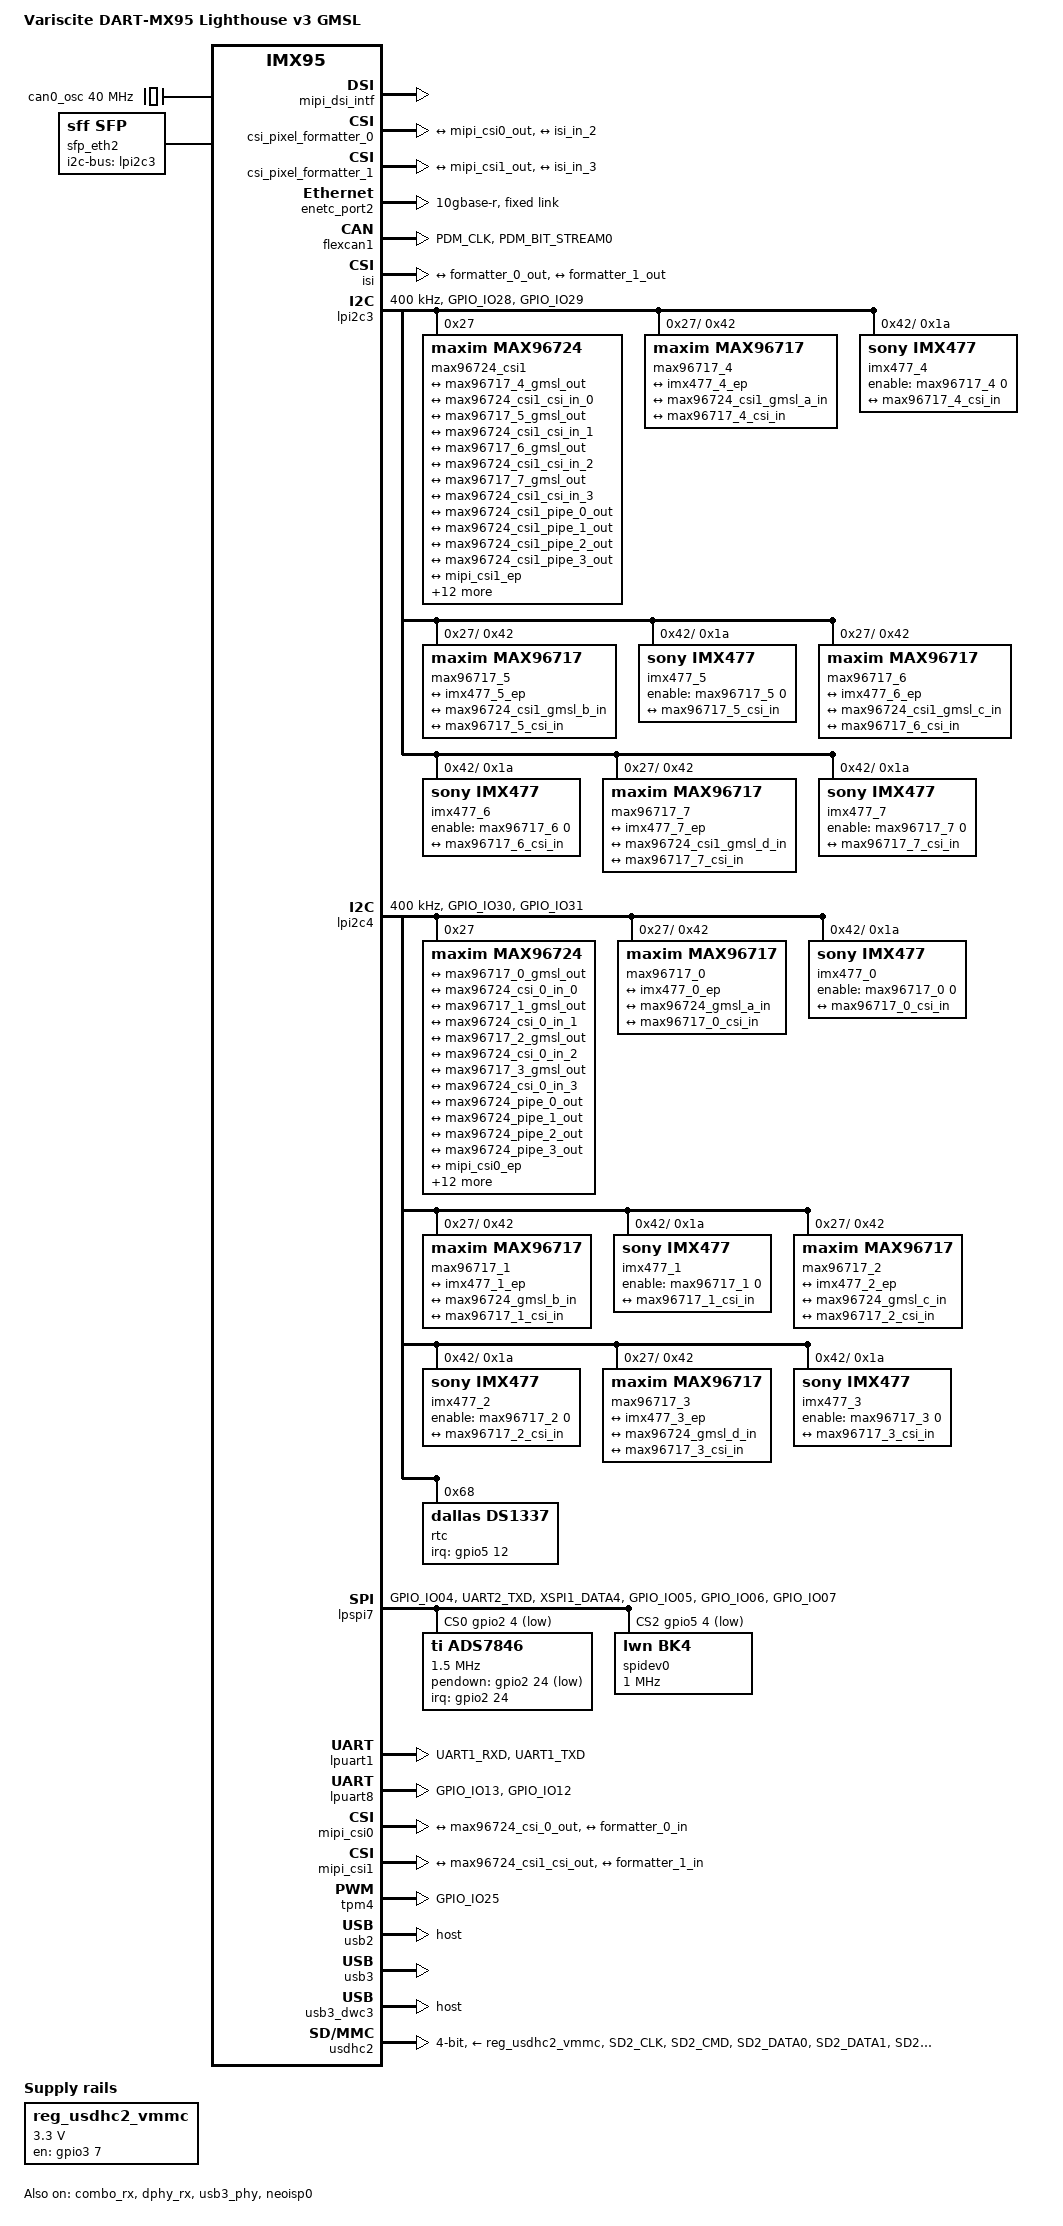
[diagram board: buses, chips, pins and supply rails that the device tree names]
// SPDX-License-Identifier: (GPL-2.0+ OR MIT)
/*
 * Copyright 2023 NXP
 * Copyright 2024-2025 Variscite Ltd.
 */

#include <dt-bindings/clock/nxp,imx95-clock.h>
#include "imx95-var-dart.dtsi"

/ {
	model = "Variscite DART-MX95 Lighthouse v3 GMSL";

	aliases {
		mmc0 = &usdhc1;
		mmc1 = &usdhc2;
		serial0 = &lpuart1;
		ethernet0 = &enetc_port0;
		ethernet1 = &enetc_port1;
		ethernet2 = &enetc_port2;
	};

	backlight: backlight {
		compatible = "pwm-backlight";
		pwms = <&tpm4 3 1000000 0>;
		status = "disabled";

		brightness-levels = < 0  1  2  3  4  5  6  7  8  9
				     10 11 12 13 14 15 16 17 18 19
				     20 21 22 23 24 25 26 27 28 29
				     30 31 32 33 34 35 36 37 38 39
				     40 41 42 43 44 45 46 47 48 49
				     50 51 52 53 54 55 56 57 58 59
				     60 61 62 63 64 65 66 67 68 69
				     70 71 72 73 74 75 76 77 78 79
				     80 81 82 83 84 85 86 87 88 89
				     90 91 92 93 94 95 96 97 98 99
				    100>;
		default-brightness-level = <80>;
	};

	can0_osc: can0_osc {
		compatible = "fixed-clock";
		#clock-cells = <0>;
		clock-frequency = <40000000>;
	};

	chosen {
		stdout-path = &lpuart1;
	};

	/* IMX477 clock provided by MAX96717 serializer in GMSL setup */

	gpio-leds {
		compatible = "gpio-leds";
		pinctrl-names = "default";
		pinctrl-0 = <&pinctrl_gpio_leds>;
		status = "disabled";

		heartbeat {
			label = "Heartbeat";
			gpios = <&gpio3 27 GPIO_ACTIVE_HIGH>;
			linux,default-trigger = "heartbeat";
		};
	};

	gpio-keys {
		compatible = "gpio-keys";
		status = "disabled";


	};

	panel {
		compatible = "sgd,gktw70sdae4se", "panel-lvds";
		backlight = <&backlight>;
		width-mm = <153>;
		height-mm = <87>;
		label = "gktw70sdae4se";
		data-mapping = "jeida-24";
		status = "disabled";

		panel-timing {
			clock-frequency = <74250000>;
			hactive = <800>;
			vactive = <480>;
			hback-porch = <40>;
			hfront-porch = <40>;
			vback-porch = <29>;
			vfront-porch = <13>;
			hsync-len = <48>;
			vsync-len = <3>;
			hsync-active = <0>;
			vsync-active = <0>;
			de-active = <1>;
		};
		port {
			panel_in: endpoint {
				remote-endpoint = <&lvds0_out>;
			};
		};
	};

	reg_usdhc2_vmmc: regulator-usdhc2 {
		compatible = "regulator-fixed";
		pinctrl-names = "default";
		pinctrl-0 = <&pinctrl_reg_usdhc2_vmmc>;
		regulator-name = "VDD_SD2_3V3";
		regulator-min-microvolt = <3300000>;
		regulator-max-microvolt = <3300000>;
		gpio = <&gpio3 7 GPIO_ACTIVE_HIGH>;
		off-on-delay-us = <12000>;
		enable-active-high;
	};

	sfp_eth2: sfp-eth2 {
		compatible = "sff,sfp";
		i2c-bus = <&lpi2c3>;
		// tx-disable-gpios = <&pca9534 4 GPIO_ACTIVE_HIGH>;
		// tx-fault-gpios = <&pca9534 0 GPIO_ACTIVE_HIGH>;
		// los-gpios = <&pca9534 1 GPIO_ACTIVE_HIGH>;
		maximum-power-milliwatt = <2000>;
		status = "okay";
	};

};

&combo_rx {
	status = "okay";
};

/*
 * Combo PHY on iMX95 shares low-level test-control registers with the DSI
 * PHY block. The dphy-rx driver writes DSI_DPHY_TEST_CTRL0 during power-on
 * (phy-fsl-imx9-dphy-rx.c:338) so mipi_dsi_intf must be enabled for combo_rx
 * to initialize correctly on the RX side. Mirrors the NXP reference
 * imx95-19x19-evk-os08a20-combo.dtso pattern.
 */
&mipi_dsi_intf {
	status = "okay";
};

&display_stream_csr {
	status = "disabled";
};

&display_master_csr {
	status = "disabled";
};

&mipi_tx_phy_csr {
	status = "disabled";
};

&csi_pixel_formatter_0 {
	status = "okay";

	ports {
		#address-cells = <1>;
		#size-cells = <0>;

		port@0 {
			reg = <0>;

			formatter_0_in: endpoint {
				remote-endpoint = <&mipi_csi0_out>;
			};
		};

		port@1 {
			reg = <1>;

			formatter_0_out: endpoint {
				remote-endpoint = <&isi_in_2>;
			};
		};
	};
};

&csi_pixel_formatter_1 {
	status = "okay";

	ports {
		#address-cells = <1>;
		#size-cells = <0>;

		port@0 {
			reg = <0>;

			formatter_1_in: endpoint {
				remote-endpoint = <&mipi_csi1_out>;
			};
		};

		port@1 {
			reg = <1>;

			formatter_1_out: endpoint {
				remote-endpoint = <&isi_in_3>;
			};
		};
	};
};

&displaymix_irqsteer {
	status = "disabled";
};

&display_pixel_link {
	status = "disabled";
};

&dphy_rx {
	status = "okay";
};

&dpu {
	status = "disabled";
};

&enetc_port1 {
	pinctrl-names = "default";
	pinctrl-0 = <&pinctrl_enetc1>;
	// phy-handle = <&ethphy1>;
	phy-mode = "rgmii";
	status = "disabled";
};

&enetc_port2 {
	phy-mode = "10gbase-r";
	status = "okay";
	//sfp = <&sfp_eth2>;

	fixed-link {
		speed = <10000>;
		full-duplex;
		// link-gpios = <&pca9534 1 GPIO_ACTIVE_LOW>;
	};
};

&flexcan1 {
	pinctrl-names = "default";
	pinctrl-0 = <&pinctrl_flexcan1>;
	status = "okay";
};

&gpio1 {
	status = "okay";
};

&isi {
	status = "okay";

	ports {
		#address-cells = <1>;
		#size-cells = <0>;

		port@2 {
			reg = <2>;

			isi_in_2: endpoint {
				remote-endpoint = <&formatter_0_out>;
			};
		};

		port@3 {
			reg = <3>;

			isi_in_3: endpoint {
				remote-endpoint = <&formatter_1_out>;
			};
		};
	};
};

&ldb0_phy {
	status = "disabled";
};

&ldb {
	#address-cells = <1>;
	#size-cells = <0>;
	assigned-clocks = <&scmi_clk IMX95_CLK_LDBPLL_VCO>,
			  <&scmi_clk IMX95_CLK_LDBPLL>;
	assigned-clock-rates = <4158000000>, <519750000>;
	status = "disabled";

	channel@0 {
		#address-cells = <1>;
		#size-cells = <0>;
		status = "disabled";
		reg = <0>;

		port@1 {
			reg = <1>;

			lvds0_out: endpoint {
				remote-endpoint = <&panel_in>;
			};
		};
	};
};


/*
 * Lighthouse v3 Deser2: second MAX96724 on lpi2c3 (Linux /dev/i2c-2). MIPI
 * output goes to CSI1 via combo_rx. All 4 data lanes + clock have their P/N
 * swapped on this board revision (lane-polarities = <1 1 1 1 1>).
 *
 * The max96724 driver tolerates chip absence: if the deserializer IC is not
 * populated / unresponsive on i2c, probe registers an offline stub subdev
 * so the ISI async notifier still completes and the rest of the media graph
 * (Deser1 + its cameras) is unaffected. Individual GMSL link-lock is also
 * handled per-link so missing cameras on present deserializers don't take
 * down the other cameras on the same deserializer.
 */
&lpi2c3 {
	#address-cells = <1>;
	#size-cells = <0>;
	clock-frequency = <400000>;
	pinctrl-names = "default";
	pinctrl-0 = <&pinctrl_lpi2c3>;
	status = "okay";

	max96724_csi1: max96724@27 {
		compatible = "maxim,max96724";
		reg = <0x27>;
		maxim,gmsl-speed = <3>;
		status = "okay";

		#address-cells = <1>;
		#size-cells = <0>;

		ports {
			#address-cells = <1>;
			#size-cells = <0>;

			/* GMSL Link A - Camera 4 */
			port@0 {
				reg = <0>;
				#address-cells = <1>;
				#size-cells = <0>;

				max96724_csi1_gmsl_a_in: endpoint@0 {
					reg = <0>;
					remote-endpoint = <&max96717_4_gmsl_out>;
				};
				max96724_csi1_pipe_0_out: endpoint@1 {
					reg = <1>;
					remote-endpoint = <&max96724_csi1_csi_in_0>;
				};
			};

			/* GMSL Link B - Camera 5 */
			port@1 {
				reg = <1>;
				#address-cells = <1>;
				#size-cells = <0>;

				max96724_csi1_gmsl_b_in: endpoint@0 {
					reg = <0>;
					remote-endpoint = <&max96717_5_gmsl_out>;
				};
				max96724_csi1_pipe_1_out: endpoint@1 {
					reg = <1>;
					remote-endpoint = <&max96724_csi1_csi_in_1>;
				};
			};

			/* GMSL Link C - Camera 6 */
			port@2 {
				reg = <2>;
				#address-cells = <1>;
				#size-cells = <0>;

				max96724_csi1_gmsl_c_in: endpoint@0 {
					reg = <0>;
					remote-endpoint = <&max96717_6_gmsl_out>;
				};
				max96724_csi1_pipe_2_out: endpoint@1 {
					reg = <1>;
					remote-endpoint = <&max96724_csi1_csi_in_2>;
				};
			};

			/* GMSL Link D - Camera 7 */
			port@3 {
				reg = <3>;
				#address-cells = <1>;
				#size-cells = <0>;

				max96724_csi1_gmsl_d_in: endpoint@0 {
					reg = <0>;
					remote-endpoint = <&max96717_7_gmsl_out>;
				};
				max96724_csi1_pipe_3_out: endpoint@1 {
					reg = <1>;
					remote-endpoint = <&max96724_csi1_csi_in_3>;
				};
			};

			/* CSI-2 Output Port -> mipi_csi1 */
			port@4 {
				reg = <4>;
				#address-cells = <1>;
				#size-cells = <0>;

				max96724_csi1_csi_in_0: endpoint@0 {
					reg = <0>;
					remote-endpoint = <&max96724_csi1_pipe_0_out>;
				};
				max96724_csi1_csi_in_1: endpoint@1 {
					reg = <1>;
					remote-endpoint = <&max96724_csi1_pipe_1_out>;
				};
				max96724_csi1_csi_in_2: endpoint@2 {
					reg = <2>;
					remote-endpoint = <&max96724_csi1_pipe_2_out>;
				};
				max96724_csi1_csi_in_3: endpoint@3 {
					reg = <3>;
					remote-endpoint = <&max96724_csi1_pipe_3_out>;
				};
				max96724_csi1_csi_out: endpoint@4 {
					reg = <4>;
					data-lanes = <1 2 3 4>;
					/*
					 * Deser2 Lighthouse v3: all 4 data lanes
					 * + clock have P/N swapped on PCB.
					 */
					lane-polarities = <1 1 1 1 1>;
					remote-endpoint = <&mipi_csi1_ep>;
				};
			};
		};

		i2c-mux {
			#address-cells = <1>;
			#size-cells = <0>;

			/* GMSL Link A */
			i2c@0 {
				#address-cells = <1>;
				#size-cells = <0>;
				reg = <0>;

				max96717_4: serializer@42 {
					compatible = "maxim,max96717", "maxim,max96717f";
					reg = <0x42>;
					gpio-controller;
					#gpio-cells = <2>;
					#clock-cells = <0>;

					ports {
						#address-cells = <1>;
						#size-cells = <0>;
						port@0 {
							reg = <0>;
							max96717_4_csi_in: endpoint {
								data-lanes = <1 2>;
								remote-endpoint = <&imx477_4_ep>;
							};
						};
						port@1 {
							reg = <1>;
							max96717_4_gmsl_out: endpoint {
								remote-endpoint = <&max96724_csi1_gmsl_a_in>;
							};
						};
					};

					i2c-gate {
						#address-cells = <1>;
						#size-cells = <0>;
						imx477_4: sensor@1a {
							compatible = "sony,imx477";
							reg = <0x1a>;
							clocks = <&max96717_4>;
							clock-names = "xclk";
							enable-gpios = <&max96717_4 0 GPIO_ACTIVE_HIGH>;
							port {
								imx477_4_ep: endpoint {
									data-lanes = <1 2>;
									link-frequencies = /bits/ 64 <600000000>;
									remote-endpoint = <&max96717_4_csi_in>;
								};
							};
						};
					};
				};
			};

			/* GMSL Link B */
			i2c@1 {
				#address-cells = <1>;
				#size-cells = <0>;
				reg = <1>;

				max96717_5: serializer@42 {
					compatible = "maxim,max96717", "maxim,max96717f";
					reg = <0x42>;
					gpio-controller;
					#gpio-cells = <2>;
					#clock-cells = <0>;

					ports {
						#address-cells = <1>;
						#size-cells = <0>;
						port@0 {
							reg = <0>;
							max96717_5_csi_in: endpoint {
								data-lanes = <1 2>;
								remote-endpoint = <&imx477_5_ep>;
							};
						};
						port@1 {
							reg = <1>;
							max96717_5_gmsl_out: endpoint {
								remote-endpoint = <&max96724_csi1_gmsl_b_in>;
							};
						};
					};

					i2c-gate {
						#address-cells = <1>;
						#size-cells = <0>;
						imx477_5: sensor@1a {
							compatible = "sony,imx477";
							reg = <0x1a>;
							clocks = <&max96717_5>;
							clock-names = "xclk";
							enable-gpios = <&max96717_5 0 GPIO_ACTIVE_HIGH>;
							port {
								imx477_5_ep: endpoint {
									data-lanes = <1 2>;
									link-frequencies = /bits/ 64 <600000000>;
									remote-endpoint = <&max96717_5_csi_in>;
								};
							};
						};
					};
				};
			};

			/* GMSL Link C */
			i2c@2 {
				#address-cells = <1>;
				#size-cells = <0>;
				reg = <2>;

				max96717_6: serializer@42 {
					compatible = "maxim,max96717", "maxim,max96717f";
					reg = <0x42>;
					gpio-controller;
					#gpio-cells = <2>;
					#clock-cells = <0>;

					ports {
						#address-cells = <1>;
						#size-cells = <0>;
						port@0 {
							reg = <0>;
							max96717_6_csi_in: endpoint {
								data-lanes = <1 2>;
								remote-endpoint = <&imx477_6_ep>;
							};
						};
						port@1 {
							reg = <1>;
							max96717_6_gmsl_out: endpoint {
								remote-endpoint = <&max96724_csi1_gmsl_c_in>;
							};
						};
					};

					i2c-gate {
						#address-cells = <1>;
						#size-cells = <0>;
						imx477_6: sensor@1a {
							compatible = "sony,imx477";
							reg = <0x1a>;
							clocks = <&max96717_6>;
							clock-names = "xclk";
							enable-gpios = <&max96717_6 0 GPIO_ACTIVE_HIGH>;
							port {
								imx477_6_ep: endpoint {
									data-lanes = <1 2>;
									link-frequencies = /bits/ 64 <600000000>;
									remote-endpoint = <&max96717_6_csi_in>;
								};
							};
						};
					};
				};
			};

			/* GMSL Link D */
			i2c@3 {
				#address-cells = <1>;
				#size-cells = <0>;
				reg = <3>;

				max96717_7: serializer@42 {
					compatible = "maxim,max96717", "maxim,max96717f";
					reg = <0x42>;
					gpio-controller;
					#gpio-cells = <2>;
					#clock-cells = <0>;

					ports {
						#address-cells = <1>;
						#size-cells = <0>;
						port@0 {
							reg = <0>;
							max96717_7_csi_in: endpoint {
								data-lanes = <1 2>;
								remote-endpoint = <&imx477_7_ep>;
							};
						};
						port@1 {
							reg = <1>;
							max96717_7_gmsl_out: endpoint {
								remote-endpoint = <&max96724_csi1_gmsl_d_in>;
							};
						};
					};

					i2c-gate {
						#address-cells = <1>;
						#size-cells = <0>;
						imx477_7: sensor@1a {
							compatible = "sony,imx477";
							reg = <0x1a>;
							clocks = <&max96717_7>;
							clock-names = "xclk";
							enable-gpios = <&max96717_7 0 GPIO_ACTIVE_HIGH>;
							port {
								imx477_7_ep: endpoint {
									data-lanes = <1 2>;
									link-frequencies = /bits/ 64 <600000000>;
									remote-endpoint = <&max96717_7_csi_in>;
								};
							};
						};
					};
				};
			};
		};
	};
};

&lpi2c4 {
	#address-cells = <1>;
	#size-cells = <0>;
	clock-frequency = <400000>;
	pinctrl-names = "default", "sleep";
	pinctrl-0 = <&pinctrl_lpi2c4>;
	pinctrl-1 = <&pinctrl_lpi2c4>;
	status = "okay";

	/* MAX96724 GMSL2 quad deserializer */
	max96724: max96724@27 {
		compatible = "maxim,max96724";
		reg = <0x27>;
		maxim,gmsl-speed = <3>;  /* 3Gbps to match MAX96717 serializers */
		status = "okay";

		#address-cells = <1>;
		#size-cells = <0>;

		ports {
			#address-cells = <1>;
			#size-cells = <0>;

			/* GMSL Link A - Camera 0 */
			port@0 {
				reg = <0>;
				#address-cells = <1>;
				#size-cells = <0>;

				max96724_gmsl_a_in: endpoint@0 {
					reg = <0>;
					remote-endpoint = <&max96717_0_gmsl_out>;
				};
				max96724_pipe_0_out: endpoint@1 {
					reg = <1>;
					remote-endpoint = <&max96724_csi_0_in_0>;
				};
			};

			/* GMSL Link B - Camera 1 */
			port@1 {
				reg = <1>;
				#address-cells = <1>;
				#size-cells = <0>;

				max96724_gmsl_b_in: endpoint@0 {
					reg = <0>;
					remote-endpoint = <&max96717_1_gmsl_out>;
				};
				max96724_pipe_1_out: endpoint@1 {
					reg = <1>;
					remote-endpoint = <&max96724_csi_0_in_1>;
				};
			};

			/* GMSL Link C - Camera 2 */
			port@2 {
				reg = <2>;
				#address-cells = <1>;
				#size-cells = <0>;

				max96724_gmsl_c_in: endpoint@0 {
					reg = <0>;
					remote-endpoint = <&max96717_2_gmsl_out>;
				};
				max96724_pipe_2_out: endpoint@1 {
					reg = <1>;
					remote-endpoint = <&max96724_csi_0_in_2>;
				};
			};

			/* GMSL Link D - Camera 3 */
			port@3 {
				reg = <3>;
				#address-cells = <1>;
				#size-cells = <0>;

				max96724_gmsl_d_in: endpoint@0 {
					reg = <0>;
					remote-endpoint = <&max96717_3_gmsl_out>;
				};
				max96724_pipe_3_out: endpoint@1 {
					reg = <1>;
					remote-endpoint = <&max96724_csi_0_in_3>;
				};
			};

			/* CSI-2 Output Port A -> mipi_csi0 */
			port@4 {
				reg = <4>;
				#address-cells = <1>;
				#size-cells = <0>;

				max96724_csi_0_in_0: endpoint@0 {
					reg = <0>;
					remote-endpoint = <&max96724_pipe_0_out>;
				};
				max96724_csi_0_in_1: endpoint@1 {
					reg = <1>;
					remote-endpoint = <&max96724_pipe_1_out>;
				};
				max96724_csi_0_in_2: endpoint@2 {
					reg = <2>;
					remote-endpoint = <&max96724_pipe_2_out>;
				};
				max96724_csi_0_in_3: endpoint@3 {
					reg = <3>;
					remote-endpoint = <&max96724_pipe_3_out>;
				};
				max96724_csi_0_out: endpoint@4 {
					reg = <4>;
					data-lanes = <1 2 3 4>;
					/*
					 * Deser1 Lighthouse v3: physical lane 2
					 * (logical lane 3) has P/N swapped on PCB.
					 * Driver translates to reg 0x08A5 bit 3 = 0x08.
					 */
					lane-polarities = <0 0 0 1 0>;
					remote-endpoint = <&mipi_csi0_ep>;
				};
			};
		};

		i2c-mux {
			#address-cells = <1>;
			#size-cells = <0>;

			/* GMSL Link A */
			i2c@0 {
				#address-cells = <1>;
				#size-cells = <0>;
				reg = <0>;

				max96717_0: serializer@42 {
					compatible = "maxim,max96717", "maxim,max96717f";
					reg = <0x42>;
					gpio-controller;
					#gpio-cells = <2>;
					#clock-cells = <0>;

					ports {
						#address-cells = <1>;
						#size-cells = <0>;
						port@0 {
							reg = <0>;
							max96717_0_csi_in: endpoint {
								data-lanes = <1 2>;
								remote-endpoint = <&imx477_0_ep>;
							};
						};
						port@1 {
							reg = <1>;
							max96717_0_gmsl_out: endpoint {
								remote-endpoint = <&max96724_gmsl_a_in>;
							};
						};
					};

					i2c-gate {
						#address-cells = <1>;
						#size-cells = <0>;
						imx477_0: sensor@1a {
							compatible = "sony,imx477";
							reg = <0x1a>;
							clocks = <&max96717_0>;
							clock-names = "xclk";
							enable-gpios = <&max96717_0 0 GPIO_ACTIVE_HIGH>;
							port {
								imx477_0_ep: endpoint {
									data-lanes = <1 2>;
									link-frequencies = /bits/ 64 <600000000>;
									remote-endpoint = <&max96717_0_csi_in>;
								};
							};
						};
					};
				};
			};

			/* GMSL Link B */
			i2c@1 {
				#address-cells = <1>;
				#size-cells = <0>;
				reg = <1>;

				max96717_1: serializer@42 {
					compatible = "maxim,max96717", "maxim,max96717f";
					reg = <0x42>;
					gpio-controller;
					#gpio-cells = <2>;
					#clock-cells = <0>;

					ports {
						#address-cells = <1>;
						#size-cells = <0>;
						port@0 {
							reg = <0>;
							max96717_1_csi_in: endpoint {
								data-lanes = <1 2>;
								remote-endpoint = <&imx477_1_ep>;
							};
						};
						port@1 {
							reg = <1>;
							max96717_1_gmsl_out: endpoint {
								remote-endpoint = <&max96724_gmsl_b_in>;
							};
						};
					};

					i2c-gate {
						#address-cells = <1>;
						#size-cells = <0>;
						imx477_1: sensor@1a {
							compatible = "sony,imx477";
							reg = <0x1a>;
							clocks = <&max96717_1>;
							clock-names = "xclk";
							enable-gpios = <&max96717_1 0 GPIO_ACTIVE_HIGH>;
							port {
								imx477_1_ep: endpoint {
									data-lanes = <1 2>;
									link-frequencies = /bits/ 64 <600000000>;
									remote-endpoint = <&max96717_1_csi_in>;
								};
							};
						};
					};
				};
			};

			/* GMSL Link C */
			i2c@2 {
				#address-cells = <1>;
				#size-cells = <0>;
				reg = <2>;

				max96717_2: serializer@42 {
					compatible = "maxim,max96717", "maxim,max96717f";
					reg = <0x42>;
					gpio-controller;
					#gpio-cells = <2>;
					#clock-cells = <0>;

					ports {
						#address-cells = <1>;
						#size-cells = <0>;
						port@0 {
							reg = <0>;
							max96717_2_csi_in: endpoint {
								data-lanes = <1 2>;
								remote-endpoint = <&imx477_2_ep>;
							};
						};
						port@1 {
							reg = <1>;
							max96717_2_gmsl_out: endpoint {
								remote-endpoint = <&max96724_gmsl_c_in>;
							};
						};
					};

					i2c-gate {
						#address-cells = <1>;
						#size-cells = <0>;
						imx477_2: sensor@1a {
							compatible = "sony,imx477";
							reg = <0x1a>;
							clocks = <&max96717_2>;
							clock-names = "xclk";
							enable-gpios = <&max96717_2 0 GPIO_ACTIVE_HIGH>;
							port {
								imx477_2_ep: endpoint {
									data-lanes = <1 2>;
									link-frequencies = /bits/ 64 <600000000>;
									remote-endpoint = <&max96717_2_csi_in>;
								};
							};
						};
					};
				};
			};

			/* GMSL Link D */
			i2c@3 {
				#address-cells = <1>;
				#size-cells = <0>;
				reg = <3>;

				max96717_3: serializer@42 {
					compatible = "maxim,max96717", "maxim,max96717f";
					reg = <0x42>;
					gpio-controller;
					#gpio-cells = <2>;
					#clock-cells = <0>;

					ports {
						#address-cells = <1>;
						#size-cells = <0>;
						port@0 {
							reg = <0>;
							max96717_3_csi_in: endpoint {
								data-lanes = <1 2>;
								remote-endpoint = <&imx477_3_ep>;
							};
						};
						port@1 {
							reg = <1>;
							max96717_3_gmsl_out: endpoint {
								remote-endpoint = <&max96724_gmsl_d_in>;
							};
						};
					};

					i2c-gate {
						#address-cells = <1>;
						#size-cells = <0>;
						imx477_3: sensor@1a {
							compatible = "sony,imx477";
							reg = <0x1a>;
							clocks = <&max96717_3>;
							clock-names = "xclk";
							enable-gpios = <&max96717_3 0 GPIO_ACTIVE_HIGH>;
							port {
								imx477_3_ep: endpoint {
									data-lanes = <1 2>;
									link-frequencies = /bits/ 64 <600000000>;
									remote-endpoint = <&max96717_3_csi_in>;
								};
							};
						};
					};
				};
			};
		};
	};

	/* DS1337 RTC module */
	rtc@68 {
		compatible = "dallas,ds1337";
		reg = <0x68>;
		pinctrl-names = "default";
		pinctrl-0 = <&pinctrl_rtc>;
		interrupt-parent = <&gpio5>;
		interrupts = <12 IRQ_TYPE_EDGE_FALLING>;
		wakeup-source;
		status = "okay";
	};

	/* Capacitive touch controller */
	ft5x06_ts: ft5x06_ts@38 {
		compatible = "edt,edt-ft5206";
		pinctrl-names = "default";
		pinctrl-0 = <&pinctrl_captouch>;
		reg = <0x38>;
		// reset-gpios = <&pca6408_2 4 GPIO_ACTIVE_LOW>;
		interrupt-parent = <&gpio5>;
		interrupts = <13 IRQ_TYPE_EDGE_FALLING>;
		touchscreen-size-x = <800>;
		touchscreen-size-y = <480>;
		touchscreen-inverted-x;
		touchscreen-inverted-y;
		wakeup-source;
		status = "disabled";
	};

	// pca9534: gpio@22 {
	// 	compatible = "nxp,pca9534";
	// 	reg = <0x22>;
	// 	gpio-controller;
	// 	#gpio-cells = <2>;
	// 	interrupt-parent = <&gpio5>;
	// 	interrupts = <17 IRQ_TYPE_LEVEL_LOW>;

	// 	pcie2-sel {
	// 		gpio-hog;
	// 		gpios = <6 GPIO_ACTIVE_HIGH>;
	// 		output-low;
	// 		line-name = "pcie-clk-sw";
	// 	};

	// 	sfp-sel {
	// 		gpio-hog;
	// 		gpios = <5 GPIO_ACTIVE_HIGH>;
	// 		output-high;
	// 		line-name = "sfp-sw";
	// 	};
	// };

};

&lpi2c8 {
	
	wm8904: codec@1a {
		status = "disabled";
	};
	

	/* IMX477 disabled on CSI0 - WM8904 audio codec conflicts at 0x1a
	imx477: imx477@1a {
		compatible = "sony,imx477";
		reg = <0x1a>;
		clocks = <&clk_imx477_fixed>;
		clock-names = "xclk";
		assigned-clock-rates = <24000000>;
		status = "okay";

		port {
			imx477_ep: endpoint {
				remote-endpoint = <&mipi_csi0_ep>;
				data-lanes = <1 2>;
				clock-lanes = <0>;
				link-frequencies = /bits/ 64 <450000000>;
			};
		};
	};
	*/
};

&lpspi7 {
	pinctrl-names = "default";
	pinctrl-0 = <&pinctrl_lpspi7>;
	cs-gpios = <&gpio2 4 GPIO_ACTIVE_LOW>,
		   <&gpio1 7 GPIO_ACTIVE_LOW>,
		   <&gpio5 4 GPIO_ACTIVE_LOW>;
	status = "okay";

	/* Resistive touch controller */
	ads7846@0 {
		compatible = "ti,ads7846";
		reg = <0>;
		pinctrl-names = "default";
		pinctrl-0 = <&pinctrl_restouch>;
		interrupt-parent = <&gpio2>;
		interrupts = <24 IRQ_TYPE_EDGE_FALLING>;
		spi-max-frequency = <1500000>;
		pendown-gpio = <&gpio2 24 GPIO_ACTIVE_LOW>;
		ti,x-min = /bits/ 16 <125>;
		ti,x-max = /bits/ 16 <4008>;
		ti,y-min = /bits/ 16 <282>;
		ti,y-max = /bits/ 16 <3864>;
		ti,x-plate-ohms = /bits/ 16 <180>;
		ti,pressure-max = /bits/ 16 <255>;
		ti,debounce-max = /bits/ 16 <10>;
		ti,debounce-tol = /bits/ 16 <3>;
		ti,debounce-rep = /bits/ 16 <1>;
		ti,settle-delay-usec = /bits/ 16 <150>;
		ti,keep-vref-on;
		wakeup-source;
		status = "okay";
	};

	can0: can@1 {
		compatible = "microchip,mcp251xfd";
		reg = <1>;
		pinctrl-names = "default";
		pinctrl-0 = <&pinctrl_can>;
		interrupts-extended = <&gpio5 15 IRQ_TYPE_LEVEL_LOW>;
		microchip,rx-int-gpios = <&gpio2 22 GPIO_ACTIVE_LOW>;
		clocks = <&can0_osc>;
		spi-max-frequency = <12000000>;
		status = "disable";
	};

	spidev0: spi@2 {
		reg = <2>;
		compatible = "lwn,bk4";
		spi-max-frequency = <1000000>;
	};
};

&lpuart1 {
	/* console */
	pinctrl-names = "default";
	pinctrl-0 = <&pinctrl_uart1>;
	status = "okay";
};

/* Header (J12.4, J12.6) */
&lpuart8 {
	pinctrl-names = "default";
	pinctrl-0 = <&pinctrl_uart8>;
	status = "okay";
};

&mipi_csi0 {
	status = "okay";
	virtual-channel;

	ports {
		#address-cells = <1>;
		#size-cells = <0>;

		port@0 {
			reg = <0>;
			mipi_csi0_ep: endpoint {
				remote-endpoint = <&max96724_csi_0_out>;
				data-lanes = <1 2 3 4>;
				clock-lanes = <0>;
			};
		};

		port@1 {
			reg = <1>;
			mipi_csi0_out: endpoint {
				remote-endpoint = <&formatter_0_in>;
			};
		};
	};
};

&mipi_csi1 {
	status = "okay";
	virtual-channel;

	ports {
		#address-cells = <1>;
		#size-cells = <0>;

		port@0 {
			reg = <0>;
			mipi_csi1_ep: endpoint {
				remote-endpoint = <&max96724_csi1_csi_out>;
				data-lanes = <1 2 3 4>;
				clock-lanes = <0>;
			};
		};

		port@1 {
			reg = <1>;
			mipi_csi1_out: endpoint {
				remote-endpoint = <&formatter_1_in>;
			};
		};
	};
};

&netc_emdio {

	// ethphy1: ethernet-phy@1 {
	// 	compatible = "ethernet-phy-ieee802.3-c22";
	// 	reg = <1>;
	// 	// reset-gpios = <&pca6408_2 0 GPIO_ACTIVE_LOW>;
	// 	reset-assert-us = <10000>;
	// 	reset-deassert-us = <100000>;

	// 	mxl-8611x,led0_cfg = <(
	// 		MXL8611X_LEDX_CFG_LINK_UP_RX_ACT_ON |
	// 		MXL8611X_LEDX_CFG_LINK_UP_TX_ACT_ON |
	// 		MXL8611X_LEDX_CFG_TRAFFIC_ACT_BLINK_IND
	// 	)>;
	// 	mxl-8611x,led1_cfg = <(
	// 		MXL8611X_LEDX_CFG_LINK_UP_10MB_ON |
	// 		MXL8611X_LEDX_CFG_LINK_UP_100MB_ON |
	// 		MXL8611X_LEDX_CFG_LINK_UP_1GB_ON
	// 	)>;
	// };
};

&pcie0 {
	fsl,refclk-pad-mode = <IMX8_PCIE_REFCLK_PAD_INPUT>;
	reset-gpio = <&gpio4 15 GPIO_ACTIVE_LOW>;
	status = "disabled";
};

&pcie1 {status = "disabled";};

&pixel_interleaver {
	#address-cells = <1>;
	#size-cells = <0>;
	status = "disabled";

	channel@0 {
		reg = <0>;
		status = "disabled";
	};
};

&scmi_iomuxc {
	pinctrl-names = "default";
	pinctrl-0 = <&pinctrl_hog>;

	pinctrl_hog: hoggrp {
		fsl,pins = <
			/* GPIO Expanders shared IRQ */
			IMX95_PAD_GPIO_IO37__GPIO5_IO_BIT17				0x31e
		>;
	};

	pinctrl_captouch: captouchgrp {
		fsl,pins = <
			IMX95_PAD_GPIO_IO33__GPIO5_IO_BIT13				0x31e
		>;
	};

	pinctrl_can: cangrp {
		fsl,pins = <
			IMX95_PAD_GPIO_IO35__GPIO5_IO_BIT15				0x31e
			IMX95_PAD_GPIO_IO22__GPIO2_IO_BIT22				0x31e
		>;
	};

	pinctrl_enetc1: enetc1grp {
		fsl,pins = <
			IMX95_PAD_ENET2_TXC__NETCMIX_TOP_ETH1_RGMII_TX_CLK		0x57e
			IMX95_PAD_ENET2_TX_CTL__NETCMIX_TOP_ETH1_RGMII_TX_CTL		0x57e
			IMX95_PAD_ENET2_TD3__NETCMIX_TOP_ETH1_RGMII_TD3			0x57e
			IMX95_PAD_ENET2_TD2__NETCMIX_TOP_ETH1_RGMII_TD2			0x57e
			IMX95_PAD_ENET2_TD1__NETCMIX_TOP_ETH1_RGMII_TD1			0x57e
			IMX95_PAD_ENET2_TD0__NETCMIX_TOP_ETH1_RGMII_TD0			0x57e
			IMX95_PAD_ENET2_RXC__NETCMIX_TOP_ETH1_RGMII_RX_CLK		0x57e
			IMX95_PAD_ENET2_RX_CTL__NETCMIX_TOP_ETH1_RGMII_RX_CTL		0x57e
			IMX95_PAD_ENET2_RD0__NETCMIX_TOP_ETH1_RGMII_RD0			0x57e
			IMX95_PAD_ENET2_RD1__NETCMIX_TOP_ETH1_RGMII_RD1			0x57e
			IMX95_PAD_ENET2_RD2__NETCMIX_TOP_ETH1_RGMII_RD2			0x57e
			IMX95_PAD_ENET2_RD3__NETCMIX_TOP_ETH1_RGMII_RD3			0x37e /* Enable pull-up to strap MXL86110 MDIO address */
		>;
	};

	pinctrl_flexcan1: flexcan1grp {
		fsl,pins = <
			IMX95_PAD_PDM_CLK__AONMIX_TOP_CAN1_TX				0x39e
			IMX95_PAD_PDM_BIT_STREAM0__AONMIX_TOP_CAN1_RX			0x39e
		>;
	};

	pinctrl_gpio_leds: ledgrp {
		fsl,pins = <
			IMX95_PAD_CCM_CLKO2__GPIO3_IO_BIT27				0x31e
		>;
	};

	pinctrl_lpi2c3: lpi2c3grp {
		fsl,pins = <
			IMX95_PAD_GPIO_IO28__LPI2C3_SDA					0x40000b9e
			IMX95_PAD_GPIO_IO29__LPI2C3_SCL					0x40000b9e
		>;
	};

	pinctrl_lpi2c3_gpio: lpi2c3grp-gpio {
		fsl,pins = <
			IMX95_PAD_GPIO_IO28__GPIO2_IO_BIT28				0x31e
			IMX95_PAD_GPIO_IO29__GPIO2_IO_BIT29				0x31e
		>;
	};

	pinctrl_lpi2c4: lpi2c4grp {
		fsl,pins = <
			IMX95_PAD_GPIO_IO30__LPI2C4_SDA					0x40000b9e
			IMX95_PAD_GPIO_IO31__LPI2C4_SCL					0x40000b9e
		>;
	};

	pinctrl_lpspi7: lpspi7grp {
		fsl,pins = <
			IMX95_PAD_GPIO_IO04__GPIO2_IO_BIT4				0x3fe		/* j16.4 ADS7846 */
			IMX95_PAD_UART2_TXD__AONMIX_TOP_GPIO1_IO_BIT7			0x3fe		/* j14.4 MCP2518FDT */
			IMX95_PAD_XSPI1_DATA4__GPIO5_IO_BIT4				0x3fe		/* j25.2 spidev */
			IMX95_PAD_GPIO_IO05__LPSPI7_SIN					0x3fe
			IMX95_PAD_GPIO_IO06__LPSPI7_SOUT				0x3fe
			IMX95_PAD_GPIO_IO07__LPSPI7_SCK					0x3fe
		>;
	};

	pinctrl_ptn5150: ptn5150grp {
		fsl,pins = <
			IMX95_PAD_GPIO_IO34__GPIO5_IO_BIT14				0x31e
		>;
	};

	pinctrl_pwm_backlight: backlightgrp {
		fsl,pins = <
			IMX95_PAD_GPIO_IO25__TPM4_CH3					0x51e
		>;
	};

	pinctrl_reg_usdhc2_vmmc: regusdhc2vmmcgrp {
		fsl,pins = <
			IMX95_PAD_SD2_RESET_B__GPIO3_IO_BIT7				0x31e
		>;
	};

	pinctrl_restouch: restouchgrp {
		fsl,pins = <
			IMX95_PAD_GPIO_IO24__GPIO2_IO_BIT24				0x31e
		>;
	};

	pinctrl_rtc: rtcgrp {
		fsl,pins = <
			IMX95_PAD_GPIO_IO32__GPIO5_IO_BIT12				0x31e
		>;
	};

	pinctrl_uart1: uart1grp {
		fsl,pins = <
			IMX95_PAD_UART1_RXD__AONMIX_TOP_LPUART1_RX			0x31e
			IMX95_PAD_UART1_TXD__AONMIX_TOP_LPUART1_TX			0x31e
		>;
	};

	pinctrl_uart8: uart8grp {
		fsl,pins = <
			IMX95_PAD_GPIO_IO13__LPUART8_RX					0x31e
			IMX95_PAD_GPIO_IO12__LPUART8_TX					0x31e
		>;
	};

	pinctrl_usdhc2_gpio: usdhc2gpiogrp {
		fsl,pins = <
			IMX95_PAD_SD2_CD_B__GPIO3_IO_BIT0				0x31e
		>;
	};

	pinctrl_usdhc2: usdhc2grp {
		fsl,pins = <
			IMX95_PAD_SD2_CLK__USDHC2_CLK					0x158e
			IMX95_PAD_SD2_CMD__USDHC2_CMD					0x138e
			IMX95_PAD_SD2_DATA0__USDHC2_DATA0				0x138e
			IMX95_PAD_SD2_DATA1__USDHC2_DATA1				0x138e
			IMX95_PAD_SD2_DATA2__USDHC2_DATA2				0x138e
			IMX95_PAD_SD2_DATA3__USDHC2_DATA3				0x138e
			IMX95_PAD_SD2_VSELECT__USDHC2_VSELECT				0x51e
		>;
	};

	pinctrl_usdhc2_100mhz: usdhc2-100mhzgrp {
		fsl,pins = <
			IMX95_PAD_SD2_CLK__USDHC2_CLK					0x158e
			IMX95_PAD_SD2_CMD__USDHC2_CMD					0x138e
			IMX95_PAD_SD2_DATA0__USDHC2_DATA0				0x138e
			IMX95_PAD_SD2_DATA1__USDHC2_DATA1				0x138e
			IMX95_PAD_SD2_DATA2__USDHC2_DATA2				0x138e
			IMX95_PAD_SD2_DATA3__USDHC2_DATA3				0x138e
			IMX95_PAD_SD2_VSELECT__USDHC2_VSELECT				0x51e
		>;
	};

	pinctrl_usdhc2_200mhz: usdhc2-200mhzgrp {
		fsl,pins = <
			IMX95_PAD_SD2_CLK__USDHC2_CLK					0x15fe
			IMX95_PAD_SD2_CMD__USDHC2_CMD					0x13fe
			IMX95_PAD_SD2_DATA0__USDHC2_DATA0				0x13fe
			IMX95_PAD_SD2_DATA1__USDHC2_DATA1				0x13fe
			IMX95_PAD_SD2_DATA2__USDHC2_DATA2				0x13fe
			IMX95_PAD_SD2_DATA3__USDHC2_DATA3				0x13fe
			IMX95_PAD_SD2_VSELECT__USDHC2_VSELECT				0x51e
		>;
	};
};

&tpm4 {
	pinctrl-names = "default";
	pinctrl-0 = <&pinctrl_pwm_backlight>;
	status = "okay";
};

&usb2 {
	dr_mode = "host";
	hnp-disable;
	srp-disable;
	adp-disable;
	disable-over-current;
	status = "okay";
};

&usb3 {
	status = "okay";
};

&usb3_dwc3 {
	dr_mode = "host";
	hnp-disable;
	srp-disable;
	adp-disable;
	snps,dis-u1-entry-quirk;
	snps,dis-u2-entry-quirk;
	status = "okay";
};

&usb3_phy {
	fsl,phy-pcs-tx-deemph-3p5db-attenuation-db = <17>;
	fsl,phy-pcs-tx-swing-full-percent = <100>;
	fsl,phy-tx-preemp-amp-tune-microamp = <600>;
	fsl,phy-tx-vboost-level-microvolt = <1156>;
	status = "okay";
	lane-swapp-disable-quirk;
};

&usdhc2 {
	pinctrl-names = "default","state_100mhz","state_200mhz","sleep";
	pinctrl-0 = <&pinctrl_usdhc2>, <&pinctrl_usdhc2_gpio>;
	pinctrl-1 = <&pinctrl_usdhc2_100mhz>, <&pinctrl_usdhc2_gpio>;
	pinctrl-2 = <&pinctrl_usdhc2_200mhz>, <&pinctrl_usdhc2_gpio>;
	pinctrl-3 = <&pinctrl_usdhc2>, <&pinctrl_usdhc2_gpio>;
	cd-gpios = <&gpio3 0 GPIO_ACTIVE_LOW>;
	fsl,cd-gpio-wakeup-disable;
	vmmc-supply = <&reg_usdhc2_vmmc>;
	bus-width = <4>;
	status = "okay";
};

&neoisp0 {
	status = "okay";
};
